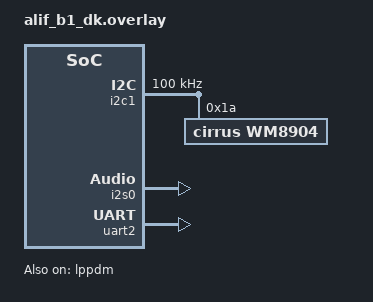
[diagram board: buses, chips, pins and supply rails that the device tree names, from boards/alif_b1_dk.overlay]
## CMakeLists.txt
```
# Copyright (C) Alif Semiconductor - All Rights Reserved.
# Use, distribution and modification of this code is permitted under the
# terms stated in the Alif Semiconductor Software License Agreement
#
# You should have received a copy of the Alif Semiconductor Software
# License Agreement with this file. If not, please write to:
# contact@alifsemi.com, or visit: https://alifsemi.com/license

cmake_minimum_required(VERSION 3.20.0)

# Include BLE Power Management snippet by default
if(NOT pm-ble IN_LIST SNIPPET)
  set(SNIPPET pm-ble ${SNIPPET} CACHE STRING "" FORCE)
endif()

find_package(Zephyr REQUIRED HINTS $ENV{ZEPHYR_BASE})
project(le_audio_auracast)

target_sources(app PRIVATE
    src/main.cpp
    src/bluetooth.c
    src/audio_datapath.c
    src/auracast_shell.c
)
target_sources_ifdef(CONFIG_AURACAST_CONTROL_PROFILE app PRIVATE src/control_profile.c)
target_sources_ifdef(CONFIG_AUDIO_DMIC app PRIVATE src/mic_source.c)

add_subdirectory(auracast_source/)
add_subdirectory(auracast_sink/)
add_subdirectory(auracast_scan_delegator/)

add_subdirectory_ifdef(CONFIG_TENSORFLOW_LITE_MICRO kws)
```

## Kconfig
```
# Copyright(C) Alif Semiconductor - All Rights Reserved.
# Use, distribution and modification of this code is permitted under the
# terms stated in the Alif Semiconductor Software License Agreement
#
# You should have received a copy of the Alif Semiconductor Software
# License Agreement with this file.If not, please write to:
# contact @alifsemi.com, or visit : https: // alifsemi.com/license

menu "Alif Bluetooth LE Audio Broadcast Source"

config AURACAST_STREAM_NAME
	string "LE audio broadcast name"
	default "ALIF_LE_AUDIO"

config AURACAST_ENCRYPTION_PASSWORD
	string "LE audio broadcast password"
	default "passwordpassword"
	help
	  If defined the broadcast stream will be encrypted.
	  Length needs to be between 4 and 16 chars or empty string (default) to disable.

config LE_AUDIO_PRESENTATION_DELAY_MS
	int "Presentation delay in ms"
	default 40
	help
	  LE audio presentation delay in ms. For the audio source use-case, this is defined as the
	  time in ms from the start of recording an audio frame, to the SDU reference anchor point
	  at which the SDU containing the same audio frame is sent over BLE. The absolute minimum
	  possible presentation delay would be the frame length (10 ms) plus the encoding time of
	  the frame, since it is impossible to send the frame before it has been fully recorded and
	  encoded. But some margin should be added on top of this to account for any overhead and
	  timing variations due to other activities of the software occurring while recording and
	  encoding the audio.

config APP_PRINT_STATS
	bool "Print audio SDU counter information"
	depends on LOG
	help
	  Helps to debug audio processing in some simple cases. Just a free running counter of sent
	  audio SDUs is printed at regular intervals.

config APP_PRINT_STATS_INTERVAL
	int "Interval for printing info about send frames, in SDU count"
	default 1024
	depends on APP_PRINT_STATS
	help
	  Interval at which to print presentation delay statistics. The interval is measured in SDU
	  count, e.g. 1024 means to print the statistics every 512 SDUs (per channel). With a 10 ms
	  SDU interval this is around 10 seconds.

config INPUT_VOLUME_LEVEL
	int "Input volume level in percentage when MIC input is active"
	default 33
	range 10 100

config INPUT_VOLUME_STEP
	int "Input volume adjustment step size"
	default 3
	range 1 10

config INPUT_VOLUME_MIN
	int "Minimum input volume level in percentage"
	default 10
	range 10 100

config INPUT_VOLUME_MAX
	int "Maximum input volume level in percentage"
	default 50
	range 10 100

config AURACAST_AUTOSTART_CMD
	string "Auto start command"

config AURACAST_CONTROL_PROFILE
	bool "Auracast BLE control profile"
	default y
	help
	  Expose a custom GATT service that lets a connected client select
	  Auracast mode. Boot and "stop" use ROLE_BLE_CONFIG (connectable
	  mode selection). GATT modes: config (0), source (1), sink (2),
	  scan delegator (3).

config AUDIO_L_CHANNEL
	int "PDM audio left channel"
	default 4
	range 0 7

config AUDIO_R_CHANNEL
	int "PDM audio right channel"
	default 5
	range 0 7

config AUDIO_PDM_PHASE
	int "PDM channel phase delay in units of PDM_Ci cycle counts"
	default 0
	range 0 64

config AUDIO_IIR_COEF
	int "IIR filter coefficient value"
	default 0
	range 0 32

rsource "kws/Kconfig"

menu "Logging"

module = MAIN
module-str = main
source "subsys/logging/Kconfig.template.log_config"

module = AURACAST_SOURCE
module-str = auracast_source
source "subsys/logging/Kconfig.template.log_config"

module = AURACAST_SINK
module-str = auracast_sink
source "subsys/logging/Kconfig.template.log_config"

module = AURACAST_SCAN_DELEGATOR
module-str = auracast_scan_delegator
source "subsys/logging/Kconfig.template.log_config"

module = AUDIO_DATAPATH
module-str = audio_datapath
source "subsys/logging/Kconfig.template.log_config"

module = AURACAST_SHELL
module-str = auracast_shell
source "subsys/logging/Kconfig.template.log_config"

module = CONTROL_PROFILE
module-str = control_profile
source "subsys/logging/Kconfig.template.log_config"

endmenu # "Logging"

endmenu # "Alif Bluetooth LE Audio Broadcast Source"

source "Kconfig.zephyr"
```

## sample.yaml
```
sample:
  name: LE Audio Auracast
tests:
  sample.bt_custom.le_audio.auracast:
    build_only: true
    filter: dt_alias_exists("i2s_bus") and dt_alias_exists("audio_codec")
    tags:
      - bluetooth
      - bt_custom
      - le_audio
```

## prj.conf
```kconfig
# Copyright (C) Alif Semiconductor - All Rights Reserved.
# Use, distribution and modification of this code is permitted under the
# terms stated in the Alif Semiconductor Software License Agreement
#
# You should have received a copy of the Alif Semiconductor Software
# License Agreement with this file. If not, please write to:
# contact@alifsemi.com, or visit: https://alifsemi.com/license

CONFIG_CPP=y
CONFIG_STD_CPP17=y

CONFIG_BT=y
CONFIG_BT_CUSTOM=y
CONFIG_ALIF_ROM_LC3_CODEC=y
CONFIG_ALIF_BLE_AUDIO=y

CONFIG_LOG=y
CONFIG_NVS_LOG_LEVEL_WRN=y
# CONFIG_LOG_MODE_IMMEDIATE=y
# CONFIG_LOG_MODE_MINIMAL=y

CONFIG_PRESENTATION_COMPENSATION_DIRECTION_SOURCE=y

CONFIG_AUDIO=y
CONFIG_AUDIO_DMIC=y
CONFIG_AUDIO_CODEC=y
CONFIG_AUDIO_CODEC_SHELL=y
CONFIG_SHELL=y

# This is specific to whichever clock you use. Currently presentation layer is
# commented out so this does nothing
CONFIG_AUDIO_CLOCK_DIVIDER=1

# Should be replaced by TRNG when support is available
CONFIG_TEST_RANDOM_GENERATOR=y

# malloc support is required, simplest way is using newlib although it would also be possible to
# configure heap for picolibc
CONFIG_NEWLIB_LIBC=y

# Driver support for audio
CONFIG_I2S=y
CONFIG_I2S_SYNC_BUFFER_FORMAT_SEQUENTIAL=n
CONFIG_DMA=y

# Audio driver support specific to B1 DK board.
# Audio codec is WM8904, connected via I2C.
CONFIG_I2C=y
CONFIG_WM8904=y

CONFIG_I2C_INIT_PRIORITY=50
CONFIG_WM8904_INIT_PRIORITY=99

# Enable NVS as the backend for Settings
CONFIG_NVS=y
# Enable the Settings subsystem
CONFIG_SETTINGS=y
CONFIG_SETTINGS_NVS=y
CONFIG_SETTINGS_RUNTIME=y
CONFIG_MPU_ALLOW_FLASH_WRITE=y
CONFIG_FLASH=y
CONFIG_FLASH_MAP=y

# For MRAM(XIP) builds with LLVM exception tables cause linker errors as part of the code is placed to TCM
CONFIG_CPP_EXCEPTIONS=n
```

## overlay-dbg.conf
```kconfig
# Copyright (C) Alif Semiconductor - All Rights Reserved.
# Use, distribution and modification of this code is permitted under the
# terms stated in the Alif Semiconductor Software License Agreement
#
# You should have received a copy of the Alif Semiconductor Software
# License Agreement with this file. If not, please write to:
# contact@alifsemi.com, or visit: https://alifsemi.com/license

CONFIG_NO_OPTIMIZATIONS=y

# Debug
CONFIG_LOG=y
#CONFIG_USE_SEGGER_RTT=y
#CONFIG_RTT_CONSOLE=y

#CONFIG_APP_PRINT_STATS=y

#CONFIG_MAIN_LOG_LEVEL_DBG=y
#CONFIG_BROADCAST_SOURCE_LOG_LEVEL_DBG=y
#CONFIG_BLE_AUDIO_LOG_LEVEL_DBG=y
#CONFIG_PRESENTATION_COMPENSATION_PRINT_STATS=y


## Debugging configuration
CONFIG_THREAD_NAME=y
CONFIG_THREAD_ANALYZER=y
CONFIG_THREAD_ANALYZER_AUTO=y
CONFIG_THREAD_ANALYZER_RUN_UNLOCKED=y
CONFIG_THREAD_ANALYZER_USE_PRINTK=y
CONFIG_THREAD_ANALYZER_AUTO_STACK_SIZE=6044

## Add asserts
CONFIG_ASSERT=y
#CONFIG_ASSERT_VERBOSE=y
#CONFIG_ASSERT_NO_COND_INFO=n
#CONFIG_ASSERT_NO_MSG_INFO=n

CONFIG_STACK_SENTINEL=y

#CONFIG_LOG_MODE_IMMEDIATE=y
CONFIG_LOG_MODE_MINIMAL=y
#CONFIG_LC3_ENCODER_STACK_SIZE=6044
```

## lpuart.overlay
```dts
/* Copyright (C) Alif Semiconductor - All Rights Reserved.
 * Use, distribution and modification of this code is permitted under the
 * terms stated in the Alif Semiconductor Software License Agreement
 *
 * You should have received a copy of the Alif Semiconductor Software
 * License Agreement with this file. If not, please write to:
 * contact@alifsemi.com, or visit: https://alifsemi.com/license
 */

&uart2 {
	status = "disabled";
};

&lpuart {
	current-speed = <115200>;
	dlf = <13>;
	/*/delete-property/ dlf;*/
	status = "okay";
	/delete-property/ pinctrl-1; // = <&pinctrl_lpuart_sleep>;
	pinctrl-names = "default";
};

/ {
	chosen {
		zephyr,console = &lpuart;
		zephyr,shell-uart = &lpuart;
		zephyr,uart-mcumgr = &lpuart;
	};
};
```

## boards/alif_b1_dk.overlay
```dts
/* Copyright (C) Alif Semiconductor - All Rights Reserved.
 * Use, distribution and modification of this code is permitted under the
 * terms stated in the Alif Semiconductor Software License Agreement
 *
 * You should have received a copy of the Alif Semiconductor Software
 * License Agreement with this file. If not, please write to:
 * contact@alifsemi.com, or visit: https://alifsemi.com/license
 *
 */

#include <dt-bindings/pinctrl/balletto-pinctrl.h>
#include <dt-bindings/i2c/i2c.h>
#include <dt-bindings/gpio/gpio.h>

#define I2S0_IRQ_NUM  141
#define I2S0_IRQ_PRIO 3

/ {
	aliases {
		audio-codec = &wm8904;
		i2s-bus = &i2s0;
		pdm-mic = &lppdm;
	};
};

&lppdm {
	status = "okay";
};

&dma2 {
	status = "okay";
	dma-channels = <8>;
	interrupts = <0 3>, <1 3>, <2 3>, <3 3>, <4 3>, <5 3>,
		     <6 3>, <7 3>, <32 3>;
	interrupt-names = "channel0", "channel1",
			  "channel2", "channel3",
			  "channel4", "channel5",
			  "channel6", "channel7",
			  "abort";
};

&i2c1 {
	clock-frequency = <I2C_BITRATE_STANDARD>;
	status = "okay";

	wm8904: wm8904@1a {
		compatible = "cirrus,wm8904";
		reg = <0x1a>;
		status = "okay";
	};
};

&i2s0 {
	/delete-property/ clock-frequency;
	/delete-property/ driver-instance;
	compatible = "alif,i2s-sync";
	interrupts = <I2S0_IRQ_NUM I2S0_IRQ_PRIO>;
	bit-depth = <16>;
	sample-rate = <48000>;
	status = "okay";
};

&pinctrl_i2c1 {
	group0 {
		pinmux = <PIN_P7_2__I2C1_SDA_C>,
			 <PIN_P7_3__I2C1_SCL_C>;
	};
};

&pinctrl_i2s0 {
	group0 {
		pinmux = <PIN_P2_4__I2S0_SDI_B>,
			 <PIN_P2_5__I2S0_SDO_B>,
			 <PIN_P1_7__I2S0_WS_A>,
			 <PIN_P1_6__I2S0_SCLK_A>;
	};
};

/* Joystick middle button */
&pinctrl_gpio5 {
	group1 {
		pinmux = <PIN_P5_7__GPIO>;
		driver-state-control = <1>;
		read-enable = < 0x1 >;
	};
};

&uart2 {
	status = "okay";
	/delete-property/ pinctrl-1;
	pinctrl-names = "default";
};

/* Disable unnecessary nodes */
&i2s1 {
	status = "disabled";
};

&uart_ahi {
	status = "disabled";
};

&ieee802154 {
	status = "disabled";
};
&rng {
	status = "disabled";
};

&pinctrl_lppdm {
	group0 {
		pinmux = < PIN_P7_4__LPPDM_C2_C >;
		read-enable = < 0x0 >;
	};
	group1 {
		pinmux = < PIN_P7_5__LPPDM_D2_C >;
		read-enable = < 0x1 >;
	};
};
```

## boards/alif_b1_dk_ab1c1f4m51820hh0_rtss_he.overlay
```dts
/* Copyright (C) Alif Semiconductor - All Rights Reserved.
 * Use, distribution and modification of this code is permitted under the
 * terms stated in the Alif Semiconductor Software License Agreement
 *
 * You should have received a copy of the Alif Semiconductor Software
 * License Agreement with this file. If not, please write to:
 * contact@alifsemi.com, or visit: https://alifsemi.com/license
 *
 */

#include "alif_b1_dk.overlay"
```

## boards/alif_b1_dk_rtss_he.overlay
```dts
/* Copyright (C) Alif Semiconductor - All Rights Reserved.
 * Use, distribution and modification of this code is permitted under the
 * terms stated in the Alif Semiconductor Software License Agreement
 *
 * You should have received a copy of the Alif Semiconductor Software
 * License Agreement with this file. If not, please write to:
 * contact@alifsemi.com, or visit: https: //alifsemi.com/license
 *
 */

#include <dt-bindings/pinctrl/balletto-pinctrl.h>
#include <dt-bindings/i2c/i2c.h>
#include <dt-bindings/gpio/gpio.h>

#define I2S0_IRQ_NUM  141
#define I2S0_IRQ_PRIO 3

/ {
	aliases {
		audio-codec = &wm8904;
		i2s-bus = &i2s0;
		/*i2s-mic = &i2s2;*/
	};
};

&dma2 {
	status = "okay";
	dma-channels = <8>;
	interrupts = <0 3>, <1 3>, <2 3>, <3 3>, <4 3>, <5 3>,
		     <6 3>, <7 3>, <32 3>;
	interrupt-names = "channel0", "channel1",
			  "channel2", "channel3",
			  "channel4", "channel5",
			  "channel6", "channel7",
			  "abort";
};

&i2c1 {
	clock-frequency = <I2C_BITRATE_STANDARD>;
	status = "okay";

	wm8904: wm8904@1a {
		compatible = "cirrus,wm8904";
		reg = <0x1a>;
		status = "okay";
	};
};

&i2s0 {
	/delete-property/ clock-frequency;
	/delete-property/ driver-instance;
	compatible = "alif,i2s-sync";
	interrupts = <I2S0_IRQ_NUM I2S0_IRQ_PRIO>;
	bit-depth = <16>;
	sample-rate = <48000>;
	status = "okay";
};

&pinctrl_i2c1 {
	group0 {
		pinmux = <PIN_P7_2__I2C1_SDA_C>,
			 <PIN_P7_3__I2C1_SCL_C>;
	};
};

&pinctrl_i2s0 {
	group0 {
		pinmux = <PIN_P2_4__I2S0_SDI_B>,
			 <PIN_P2_5__I2S0_SDO_B>,
			 <PIN_P1_7__I2S0_WS_A>,
			 <PIN_P1_6__I2S0_SCLK_A>;
	};
};

/* Jouystick middle button */
&pinctrl_gpio5 {
	group1 {
		pinmux = <PIN_P5_7__GPIO>;
		driver-state-control = <1>;
		read-enable = < 0x1 >;
	};
};

/* Disable unnecessary nodes */
&i2s1 {
	status = "disabled";
};

&uart_ahi {
	status = "disabled";
};
```

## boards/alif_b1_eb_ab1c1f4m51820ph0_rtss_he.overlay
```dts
/* Copyright (C) Alif Semiconductor - All Rights Reserved.
 * Use, distribution and modification of this code is permitted under the
 * terms stated in the Alif Semiconductor Software License Agreement
 *
 * You should have received a copy of the Alif Semiconductor Software
 * License Agreement with this file. If not, please write to:
 * contact@alifsemi.com, or visit: https://alifsemi.com/license
 *
 */


#define I2S0_IRQ_NUM  141
#define I2S0_IRQ_PRIO 3

/ {
	aliases {
		audio-codec = &wm8904;
		i2s-bus = &i2s0;
		/*i2s-mic = &i2s2;*/
	};
};
```

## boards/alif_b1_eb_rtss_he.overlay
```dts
/* Copyright (C) Alif Semiconductor - All Rights Reserved.
 * Use, distribution and modification of this code is permitted under the
 * terms stated in the Alif Semiconductor Software License Agreement
 *
 * You should have received a copy of the Alif Semiconductor Software
 * License Agreement with this file. If not, please write to:
 * contact@alifsemi.com, or visit: https://alifsemi.com/license
 *
 */

#include "alif_b1_dk_rtss_he.overlay"

&pinctrl_i2c0 {
	group0 {
		pinmux = <PIN_P7_0__I2C0_SDA_C>,
			 <PIN_P7_1__I2C0_SCL_C>;
	};
};

&pinctrl_i2s0 {
	group0 {
		pinmux = <PIN_P8_0__I2S0_SDI_C>,
			 <PIN_P8_1__I2S0_SDO_C>,
			 <PIN_P8_3__I2S0_WS_C>,
			 <PIN_P8_2__I2S0_SCLK_C>;
	};
};
```

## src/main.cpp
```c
/* Copyright (C) Alif Semiconductor - All Rights Reserved.
 * Use, distribution and modification of this code is permitted under the
 * terms stated in the Alif Semiconductor Software License Agreement
 *
 * You should have received a copy of the Alif Semiconductor Software
 * License Agreement with this file. If not, please write to:
 * contact@alifsemi.com, or visit: https://alifsemi.com/license
 */

#include <zephyr/kernel.h>
#include <zephyr/logging/log.h>
#include "bluetooth.h"
#include "KwsMain.h"

LOG_MODULE_REGISTER(main, CONFIG_MAIN_LOG_LEVEL);

int main(void)
{
	configure_bluetooth();
	kws_initialize();

	return 0;
}
```

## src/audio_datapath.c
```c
/* Copyright (C) Alif Semiconductor - All Rights Reserved.
 * Use, distribution and modification of this code is permitted under the
 * terms stated in the Alif Semiconductor Software License Agreement
 *
 * You should have received a copy of the Alif Semiconductor Software
 * License Agreement with this file. If not, please write to:
 * contact@alifsemi.com, or visit: https://alifsemi.com/license
 */

#include <zephyr/types.h>
#include <zephyr/device.h>
#include <zephyr/logging/log.h>
#include <zephyr/audio/codec.h>

#include "bluetooth/le_audio/audio_decoder.h"
#include "bluetooth/le_audio/audio_encoder.h"

#include "audio_datapath.h"
#include "mic_source.h"

#if CONFIG_ALIF_BLE_AUDIO_USE_RAMFUNC
#define INT_RAMFUNC __ramfunc
#else
#define INT_RAMFUNC
#endif

#define CODEC_I2S_DEV DEVICE_DT_GET(CODEC_I2S_NODE)

BUILD_ASSERT(!DT_PROP(CODEC_I2S_NODE, mono_mode), "I2S must be configured in stereo mode");

LOG_MODULE_REGISTER(audio_datapath, CONFIG_BLE_AUDIO_LOG_LEVEL);

struct audio_datapath {
	struct audio_encoder *encoder;
	struct audio_decoder *decoder;
};

static struct audio_datapath env;

/* Initialisation to perform pre-main */
static int unicast_audio_path_init(void)
{
	int ret;

	/* Check all devices are ready */
	ret = device_is_ready(DEVICE_DT_GET(CODEC_CFG_NODE));
	if (!ret) {
		LOG_ERR("Audio codec is not ready");
		return -1;
	}

	ret = device_is_ready(CODEC_I2S_DEV);
	if (!ret) {
		LOG_ERR("I2S is not ready");
		return -1;
	}

	/* Stop codec output if started during init */
	audio_codec_stop_output(DEVICE_DT_GET(CODEC_CFG_NODE));

	return 0;
}
SYS_INIT(unicast_audio_path_init, APPLICATION, 0);

#if ENCODER_DEBUG
INT_RAMFUNC static void on_encoder_frame_complete(void *param, uint32_t timestamp, uint16_t sdu_seq)
{
	if ((sdu_seq % 128) == 0) {
		LOG_INF("SDU sequence number: %u", sdu_seq);
	}
}
#endif

#if DECODER_DEBUG
INT_RAMFUNC static void print_sdus(void *context, uint32_t timestamp, uint16_t sdu_seq)
{
	static uint16_t last_sdu;

	if (last_sdu && (last_sdu + 1 < sdu_seq)) {
		LOG_INF("SDU sequence number jumps, last: %u, now: %u", last_sdu, sdu_seq);
	}
	last_sdu = sdu_seq;

	if (0 == (sdu_seq % 128)) {
		LOG_INF("SDU sequence number %u", sdu_seq);
	}
}
#endif

static int configure_codec(const uint32_t sampling_rate_hz)
{
	int ret;
	/* clang-format off */
	struct audio_codec_cfg codec_cfg = {
		.dai_type = AUDIO_DAI_TYPE_I2S,
		.dai_cfg = {
			.i2s = {
				.word_size = AUDIO_PCM_WIDTH_16_BITS,
				.channels = 2,
				.format = I2S_FMT_DATA_FORMAT_I2S,
				.options = 0,
				.frame_clk_freq = sampling_rate_hz,
				.mem_slab = NULL,
				.block_size = 0,
				.timeout = 0,
			},
		},
	};
	/* clang-format on */

	/* Configure codec */
	ret = audio_codec_configure(DEVICE_DT_GET(CODEC_CFG_NODE), &codec_cfg);
	if (ret) {
		LOG_ERR("Failed to configure source codec. err %d", ret);
		return ret;
	}
	audio_codec_start_output(DEVICE_DT_GET(CODEC_CFG_NODE));

	return 0;
}

int audio_datapath_create_source(struct audio_datapath_config const *const cfg)
{
	if (cfg == NULL) {
		return -EINVAL;
	}

	if (env.encoder) {
		/* TODO reconfigure encoder? */

		return -EALREADY;
	}

	struct audio_encoder_params const enc_params = {
		.i2s_dev = CODEC_I2S_DEV,
		.frame_duration_us = cfg->frame_duration_is_10ms ? 10000 : 7500,
		.sampling_rate_hz = cfg->sampling_rate_hz,
		.audio_buffer_len_us = cfg->pres_delay_us,
	};

	audio_encoder_delete(env.encoder);

	/* Configure codec */
	configure_codec(cfg->sampling_rate_hz);

	/* Remove old one and create a new */
	env.encoder = audio_encoder_create(&enc_params);
	if (env.encoder == NULL) {
		LOG_ERR("Failed to create audio encoder");
		return -ENOMEM;
	}

#if ENCODER_DEBUG
	ret = audio_encoder_register_cb(env.encoder, on_encoder_frame_complete, NULL);
	if (ret) {
		LOG_ERR("Failed to register encoder cb for stats, err %d", ret);
		return ret;
	}
#endif

	if (cfg->mic_dev) {
		int ret = mic_configure(cfg->mic_dev, CODEC_I2S_DEV, env.encoder);

		if (ret != 0) {
			LOG_ERR("Failed to configure mic input, err %d", ret);
			return ret;
		}
	}

	LOG_DBG("Source audio datapath created");

	return 0;
}

int audio_datapath_channel_create_source(size_t const octets_per_frame, uint8_t const stream_lid)
{
	int ret = audio_encoder_add_channel(env.encoder, octets_per_frame, stream_lid);

	if (ret) {
		LOG_ERR("Stream %u creation failed. Err %d", stream_lid, ret);
		return ret;
	}
	return 0;
}

int audio_datapath_channel_start_source(uint8_t const stream_lid)
{
	int ret = audio_encoder_start_channel(env.encoder, stream_lid);

	if (ret) {
		LOG_ERR("Stream %u start failed. Err %d", stream_lid, ret);
		return ret;
	}
	return 0;
}

int audio_datapath_channel_stop_source(uint8_t const stream_lid)
{
	int ret = audio_encoder_stop_channel(env.encoder, stream_lid);

	if (ret) {
		LOG_ERR("Stream %u stop failed. Err %d", stream_lid, ret);
		return ret;
	}
	return 0;
}

int audio_datapath_cleanup_source(void)
{
	/* Stop encoder first as it references other modules */
	audio_encoder_delete(env.encoder);
	env.encoder = NULL;

	LOG_DBG("Source audio datapath removed");

	return 0;
}

int audio_datapath_create_sink(struct audio_datapath_config const *const cfg)
{
	if (!cfg) {
		return -EINVAL;
	}

	if (env.decoder) {
		return -EALREADY;
	}

	struct audio_decoder_params const dec_params = {
		.i2s_dev = CODEC_I2S_DEV,
		.frame_duration_us = cfg->frame_duration_is_10ms ? 10000 : 7500,
		.sampling_rate_hz = cfg->sampling_rate_hz,
		.pres_delay_us = cfg->pres_delay_us,
	};

	audio_decoder_delete(env.decoder);

	/* Configure codec */
	configure_codec(cfg->sampling_rate_hz);

	env.decoder = audio_decoder_create(&dec_params);

	if (!env.decoder) {
		LOG_ERR("Failed to create audio decoder");
		return -ENOMEM;
	}

#if DECODER_DEBUG
	ret = audio_decoder_register_cb(env.decoder, print_sdus, NULL);
	if (ret != 0) {
		LOG_ERR("Failed to register decoder cb, err %d", ret);
		return ret;
	}
#endif

	LOG_DBG("Sink audio datapath created");

	return 0;
}

int audio_datapath_channel_create_sink(size_t const octets_per_frame, uint8_t const stream_lid)
{
	int ret = audio_decoder_add_channel(env.decoder, octets_per_frame, stream_lid);

	if (ret) {
		LOG_ERR("Failed to create stream %u, err %d", stream_lid, ret);
		return ret;
	}

	return 0;
}

int audio_datapath_channel_start_sink(uint8_t const stream_lid)
{
	int ret = audio_decoder_start_channel(env.decoder, stream_lid);

	if (ret) {
		LOG_ERR("Failed to start stream %u, err %d", stream_lid, ret);
		return ret;
	}

	return 0;
}

int audio_datapath_channel_stop_sink(uint8_t const stream_lid)
{
	int ret = audio_decoder_stop_channel(env.decoder, stream_lid);

	if (ret) {
		LOG_ERR("Failed to stop stream %u, err %d", stream_lid, ret);
		return ret;
	}

	return 0;
}

int audio_datapath_channel_volume_sink(uint8_t const volume, bool const mute)
{
	int ret;
	audio_property_value_t property_value;
	const struct device *dev = DEVICE_DT_GET(CODEC_CFG_NODE);

	property_value.vol = volume;
	ret = audio_codec_set_property(dev, AUDIO_PROPERTY_OUTPUT_VOLUME, AUDIO_CHANNEL_ALL,
				       property_value);
	if (ret) {
		LOG_ERR("Failed to set volume, err %d", ret);
		return ret;
	}

	property_value.mute = mute;
	ret = audio_codec_set_property(dev, AUDIO_PROPERTY_OUTPUT_MUTE, AUDIO_CHANNEL_ALL,
				       property_value);
	if (ret) {
		LOG_ERR("Failed to set mute, err %d", ret);
		return ret;
	}

	return 0;
}

int audio_datapath_cleanup_sink(void)
{
	audio_decoder_delete(env.decoder);
	env.decoder = NULL;

	LOG_DBG("Sink audio datapath removed");

	return 0;
}
```

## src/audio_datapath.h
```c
/* Copyright (C) Alif Semiconductor - All Rights Reserved.
 * Use, distribution and modification of this code is permitted under the
 * terms stated in the Alif Semiconductor Software License Agreement
 *
 * You should have received a copy of the Alif Semiconductor Software
 * License Agreement with this file. If not, please write to:
 * contact@alifsemi.com, or visit: https://alifsemi.com/license
 */

#ifndef _AUDIO_DATAPATH_H
#define _AUDIO_DATAPATH_H

#include <zephyr/types.h>

#define CODEC_CFG_NODE DT_ALIAS(audio_codec)
#define CODEC_I2S_NODE DT_ALIAS(i2s_bus)
/* #define MCLK_GEN_NODE DT_ALIAS(mclk_gen) */

struct audio_datapath_config {
	const struct device *mic_dev;
	uint32_t pres_delay_us;
	uint32_t sampling_rate_hz;
	bool frame_duration_is_10ms;
};

/**
 * @brief Create the audio source datapath
 *
 * This creates and configures all of the required elements to stream audio from Bluetooth LE to I2S
 *
 * @param cfg Desired configuration of the audio datapath
 *
 * @retval 0 if successful
 * @retval Negative error code on failure
 */
int audio_datapath_create_source(struct audio_datapath_config const *cfg);

/**
 * @brief Create the audio source datapath channel
 *
 * @param[in] octets_per_frame Number of data per frame
 * @param[in] stream_lid Stream local ID of the channel to be created
 *
 * @retval 0 if successful
 * @retval Negative error code on failure
 */
int audio_datapath_channel_create_source(size_t octets_per_frame, uint8_t stream_lid);

/**
 * @brief Start the audio source datapath
 *
 * Starts transmission of the first SDU over the ISO datapath,
 * which when transmitted starts off the operation of the rest of
 * the datapath.
 *
 * @param[in] stream_lid Stream local ID
 *
 * @retval 0 if successful
 * @retval Negative error code on failure
 */
int audio_datapath_channel_start_source(uint8_t stream_lid);

/**
 * @brief Stop the audio source datapath
 *
 * Stops transmission of the SDUs over the ISO datapath.
 *
 * @param[in] stream_lid Stream local ID
 *
 * @retval 0 if successful
 * @retval Negative error code on failure
 */
int audio_datapath_channel_stop_source(uint8_t stream_lid);

/**
 * @brief Clean up the audio source datapath
 *
 * This stops the audio source datapath and cleans up all elements created by
 * audio_datapath_create_source, freeing any allocated memory if necessary. After calling this
 * function, it is possible to create a new audio source datapath again using
 * audio_datapath_create_source.
 *
 * @retval 0 if successful
 * @retval Negative error code on failure
 */
int audio_datapath_cleanup_source(void);

/**
 * @brief Create the audio sink datapath
 *
 * This creates and configures all of the required elements to stream audio from I2S to Bluetooth LE
 *
 * @param cfg Desired configuration of the audio datapath
 *
 * @retval 0 if successful
 * @retval Negative error code on failure
 */
int audio_datapath_create_sink(struct audio_datapath_config const *cfg);

/**
 * @brief Create the audio sink datapath channel
 *
 * @param[in] octets_per_frame Number of data per frame
 * @param[in] stream_lid Stream local ID of the channel to be created
 *
 * @retval 0 if successful
 * @retval Negative error code on failure
 */
int audio_datapath_channel_create_sink(size_t octets_per_frame, uint8_t stream_lid);

/**
 * @brief Start the audio sink datapath channel
 *
 * Starts transmission of the first SDU over the ISO datapath,
 * which when transmitted starts off the operation of the rest of
 * the datapath.
 *
 * @param[in] stream_lid Stream local ID
 *
 * @retval 0 if successful
 * @retval Negative error code on failure
 */
int audio_datapath_channel_start_sink(uint8_t stream_lid);

/**
 * @brief Stop the audio sink datapath channel
 *
 * Stops transmission of the SDUs over the ISO datapath.
 *
 * @param[in] stream_lid Stream local ID
 *
 * @retval 0 if successful
 * @retval Negative error code on failure
 */
int audio_datapath_channel_stop_sink(uint8_t stream_lid);

/**
 * @brief Set the volume of an audio sink channel
 *
 * @param volume New volume value
 * @param mute New mute state (true or false)
 *
 * @retval 0 if successful
 * @retval Negative error code on failure
 */
int audio_datapath_channel_volume_sink(uint8_t volume, bool mute);

/**
 * @brief Clean up the audio sink datapath
 *
 * This stops the audio sink datapath and cleans up all elements created by
 * audio_datapath_create_sink, freeing any allocated memory if necessary. After calling this
 * function, it is possible to create a new audio sink datapath again using
 * audio_datapath_create_sink.
 *
 * @retval 0 if successful
 * @retval Negative error code on failure
 */
int audio_datapath_cleanup_sink(void);

/**
 * @brief Controls the microphone input
 *
 * @param start True to start the microphone input, false to stop it
 */
void audio_datapath_mic_control(bool start);

#endif /* _AUDIO_DATAPATH_H */
```

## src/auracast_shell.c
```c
/* Copyright (C) Alif Semiconductor - All Rights Reserved.
 * Use, distribution and modification of this code is permitted under the
 * terms stated in the Alif Semiconductor Software License Agreement
 *
 * You should have received a copy of the Alif Semiconductor Software
 * License Agreement with this file. If not, please write to:
 * contact@alifsemi.com, or visit: https://alifsemi.com/license
 */

#include <zephyr/shell/shell.h>
#include <stdio.h>
#include "gapm.h"
#include "bluetooth.h"
#include "auracast_source.h"
#include "auracast_sink.h"
#include "auracast_sd.h"

LOG_MODULE_REGISTER(auracast_shell, LOG_LEVEL_ERR);

static const char *param_get_str(size_t const argc, char **argv, char *p_param,
				 const char *p_def_value)
{
	if (p_param && argc > 1) {
		for (int n = 0; n < (argc - 1); n++) {
			if (strcmp(argv[n], p_param) == 0) {
				return argv[n + 1];
			}
		}
	}
	return p_def_value;
}

static int32_t param_get_int(size_t const argc, char **argv, char *p_param, int const def_value)
{
	const char *p_value = param_get_str(argc, argv, p_param, NULL);

	if (p_value) {
		return strtol(p_value, NULL, 0);
	}

	return def_value;
}

static int cmd_info(const struct shell *shell, size_t argc, char **argv)
{
	const enum role my_role = get_current_role();
	const char *info = get_device_name();
	gap_bdaddr_t identity;
	char addr_str[18];

	gapm_get_identity(&identity);

	snprintf(addr_str, sizeof(addr_str), "%02X:%02X:%02X:%02X:%02X:%02X", identity.addr[5],
		 identity.addr[4], identity.addr[3], identity.addr[2], identity.addr[1],
		 identity.addr[0]);

	shell_fprintf(shell, SHELL_VT100_COLOR_YELLOW, "Current config:\n");
	shell_fprintf(shell, SHELL_VT100_COLOR_GREEN, "  Device Name: ");
	shell_fprintf(shell, SHELL_VT100_COLOR_DEFAULT, "%s\n", info);
	shell_fprintf(shell, SHELL_VT100_COLOR_GREEN, "  Device Addr: ");
	shell_fprintf(shell, SHELL_VT100_COLOR_DEFAULT, "%s\n", addr_str);

	if (my_role >= ROLE_MAX) {
		shell_fprintf(shell, SHELL_VT100_COLOR_GREEN, "Device role is invalid\n");
		return 0;
	}

	const char *role_strs[ROLE_MAX] = {
		"None",
		"BLE Config",
		"Auracast Source",
		"Auracast Sink",
		"Auracast Scan Delegator",
	};

	shell_fprintf(shell, SHELL_VT100_COLOR_GREEN, "  Role: ");
	shell_fprintf(shell, SHELL_VT100_COLOR_DEFAULT, "%s\n", role_strs[my_role]);

	info = get_stream_name();
	shell_fprintf(shell, SHELL_VT100_COLOR_GREEN, "  Stream name: ");
	shell_fprintf(shell, SHELL_VT100_COLOR_DEFAULT, "%s\n", info ? info : "<not set>");

	info = get_auracast_encryption_passwd();
	shell_fprintf(shell, SHELL_VT100_COLOR_GREEN, "  Stream encryption password: ");
	shell_fprintf(shell, SHELL_VT100_COLOR_DEFAULT, "%s\n", info ? info : "<not set>");

	return 0;
}

static int cmd_set_device_name(const struct shell *shell, size_t const argc, char **argv)
{
	if (argc < 2) {
		LOG_ERR("argument 'name' is missing");
		return -EINVAL;
	}

	const char *device_name = argv[1];

	return set_device_name(device_name);
}

static int cmd_start_source(const struct shell *shell, size_t const argc, char **argv)
{
	if (argc < 2) {
		LOG_ERR("argument 'name' is missing");
		return -EINVAL;
	}

	struct startup_params command = {
		.cmd = COMMAND_SOURCE,
	};

	const char *stream_name = argv[1];
	const char *passwd = param_get_str(argc, argv, "--passwd", NULL);
	const char *codec = param_get_str(argc, argv, "--codec", NULL);

	if (codec) {
		LOG_DBG("Using '%s' codec configuration", codec);

		if (auracast_codec_config_from_name(codec, &command.source.octets_per_frame,
						    &command.source.frame_rate_hz,
						    &command.source.frame_duration_us) != 0) {
			LOG_ERR("Invalid codec name '%s'", codec);
			return -EINVAL;
		}

	} else {
		const char *p_duration = param_get_str(argc, argv, "--ms", NULL);

		command.source.octets_per_frame = param_get_int(
			argc, argv, "--sdu", CONFIG_ALIF_BLE_AUDIO_OCTETS_PER_CODEC_FRAME);
		command.source.frame_rate_hz =
			param_get_int(argc, argv, "--rate", CONFIG_ALIF_BLE_AUDIO_FS_HZ);

		if (!p_duration) {
			/* If frame duration is not provided, use default based on config */
			command.source.frame_duration_us =
				IS_ENABLED(CONFIG_ALIF_BLE_AUDIO_FRAME_DURATION_10MS) ? 10000
										      : 7500;
		} else if (strncmp(p_duration, "10", 2) == 0) {
			command.source.frame_duration_us = 10000;
		} else if (strncmp(p_duration, "7.5", 2) == 0) {
			command.source.frame_duration_us = 7500;
		} else {
			LOG_ERR("Invalid frame duration '%s', use '10' or '7.5'", p_duration);
			return -EINVAL;
		}
	}

#if CONFIG_TENSORFLOW_LITE_MICRO
	if (command.source.frame_rate_hz != 16000) {
		LOG_ERR("KWS model is requiring 16kHz input");
		return -EINVAL;
	}
#endif

	set_device_name(stream_name);
	set_stream_name(stream_name);
	set_auracast_encryption_passwd(passwd);

	return execute_shell_command(command);
}

static int cmd_start_sink(const struct shell *shell, size_t const argc, char **argv)
{
	const char *stream_name = (argc >= 2) ? argv[1] : NULL;
	const char *passwd = (argc >= 3) ? argv[2] : NULL;

	set_stream_name(stream_name);
	set_auracast_encryption_passwd(passwd);

	return execute_shell_command((struct startup_params){
		.cmd = COMMAND_SINK,
	});
}

static int cmd_select(const struct shell *shell, size_t const argc, char **argv)
{
	if (argc < 2) {
		LOG_ERR("argument 'index' is missing");
		return -EINVAL;
	}

	const int index = strtol(argv[1], NULL, 0);
	const char *passwd = (argc >= 3) ? argv[2] : NULL;

	set_auracast_encryption_passwd(passwd);

	return execute_shell_command((struct startup_params){
		.cmd = COMMAND_SINK_SELECT_STREAM,
		.sink.stream_index = index,
	});
}

static int cmd_start_scan_delegator(const struct shell *shell, size_t const argc, char **argv)
{
	const char *device_name = (argc > 1) ? argv[1] : DEVICE_NAME_PREFIX_DEFAULT " SD";

	if (set_device_name(device_name) < 0) {
		LOG_ERR("Failed to set device name");
		return -EINVAL;
	}

	return execute_shell_command((struct startup_params){
		.cmd = COMMAND_SCAN_DELEGATOR,
	});
}

static int cmd_stop(const struct shell *shell, size_t const argc, char **argv)
{
	return execute_shell_command((struct startup_params){
		.cmd = COMMAND_STOP,
	});
}

SHELL_STATIC_SUBCMD_SET_CREATE(
	sub_cfg, SHELL_CMD_ARG(info, NULL, "Print device info", cmd_info, 1, 10),
	SHELL_CMD_ARG(name, NULL, "Set device name <name>", cmd_set_device_name, 1, 10),
	SHELL_CMD_ARG(
		source, NULL,
		"Start Auracast transmitter <stream name> [--passwd <password>] "
		"[--codec <name>] [--sdu <octets_per_frame_in_bytes>] [--rate <frame_rate_hz>] "
		"[--ms <frame_duration_in_ms>]",
		cmd_start_source, 1, 10),
	SHELL_CMD_ARG(sink, NULL, "Start Auracast receiver [<stream name> [password]]",
		      cmd_start_sink, 1, 10),
	SHELL_CMD_ARG(delegator, NULL, "Start Auracast scan delegator [device name]",
		      cmd_start_scan_delegator, 1, 10),
	SHELL_CMD_ARG(select, NULL, "Select Auracast stream <index> [password]", cmd_select, 1, 10),
	SHELL_CMD_ARG(stop, NULL, "Stop Auracast", cmd_stop, 1, 10),
	SHELL_SUBCMD_SET_END /* Array terminated. */
);

SHELL_CMD_REGISTER(auracast, &sub_cfg, "Auracast config", NULL);
```

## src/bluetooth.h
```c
/* Copyright (C) Alif Semiconductor - All Rights Reserved.
 * Use, distribution and modification of this code is permitted under the
 * terms stated in the Alif Semiconductor Software License Agreement
 *
 * You should have received a copy of the Alif Semiconductor Software
 * License Agreement with this file. If not, please write to:
 * contact@alifsemi.com, or visit: https://alifsemi.com/license
 */

#ifndef BLUETOOTH_H
#define BLUETOOTH_H

#if __cplusplus
extern "C" {
#endif

#include <zephyr/types.h>
#include <gaf/gaf.h>

#define DEVICE_NAME_PREFIX_DEFAULT "ALIF Auracast"

/* Appearance */
#define APPEARANCE_EARBUDS 0x0941
#define APPEARANCE_HEADSET 0x0942

/* TODO: Change appearance to Headset when bidir communication is implemented */
#define APPEARANCE APPEARANCE_EARBUDS

enum role {
	ROLE_NONE,
	ROLE_BLE_CONFIG, /* Connectable GATT control profile (mode selection) */
	ROLE_AURACAST_SOURCE,
	ROLE_AURACAST_SINK,
	ROLE_AURACAST_SCAN_DELEGATOR,
	ROLE_MAX,
};

enum command {
	COMMAND_STOP,
	COMMAND_SOURCE,
	COMMAND_SINK,
	COMMAND_SINK_SELECT_STREAM,
	COMMAND_SCAN_DELEGATOR,
	COMMAND_MAX,
};

struct startup_params {
	enum command cmd;
	union {
		struct {
			uint32_t octets_per_frame;
			uint32_t frame_rate_hz;
			uint32_t frame_duration_us;
		} source;
		struct {
			int stream_index;
		} sink;
	};
};

/**
 * @brief Set device name
 *
 * @param name Device name string
 * @retval 0 on success
 * @retval Negative error code on failure
 */
int set_device_name(const char *name);

/**
 * @brief Get the current device name
 *
 * @retval Device name string
 */
const char *get_device_name(void);

/**
 * @brief Set stream name
 *
 * @param name Stream name string
 * @retval 0 on success
 * @retval Negative error code on failure
 */
int set_stream_name(const char *name);

/**
 * @brief Get the current stream name
 *
 * @retval Stream name string
 */
const char *get_stream_name(void);

/**
 * @brief Set Auracast encryption password
 *
 * @param passwd Password string
 * @retval 0 on success
 * @retval Negative error code on failure
 */
int set_auracast_encryption_passwd(const char *passwd);

/**
 * @brief Get Auracast encryption password
 *
 * @retval Password string
 */
const char *get_auracast_encryption_passwd(void);

/**
 * @brief Fill the Auracast encryption key
 *
 * @param key_buffer Buffer to fill with the encryption key
 * @retval password length on success
 * @retval Negative error code on failure
 */
int fill_auracast_encryption_key(gaf_bcast_code_t *p_code);

/**
 * @brief Configure a role
 *
 * @param role Desired role to configure
 * @retval 0 on success
 * @retval -1 on failure
 */
int configure_role(enum role role);

/**
 * @brief Get the current configured role
 *
 * @retval Current role
 */
enum role get_current_role(void);

/**
 * @brief Resolve an LC3 codec preset name to its audio parameters
 *
 * Recognised names follow the "<rate_khz>_<n>" convention (e.g. "16_2",
 * "48_4"). 44.1 kHz presets are only available when CODEC_44khz_SUPPORT_ENABLED
 * is defined.
 *
 * @param codec             Codec preset name
 * @param octets_per_frame  Output: octets per codec frame
 * @param frame_rate_hz     Output: sampling rate in Hz
 * @param frame_duration_us Output: frame duration in microseconds
 *
 * @retval 0 on success
 * @retval -EINVAL if the codec name is NULL, empty or unknown
 */
int auracast_codec_config_from_name(const char *codec, uint32_t *octets_per_frame,
				    uint32_t *frame_rate_hz, uint32_t *frame_duration_us);

/**
 * @brief Execute a shell command in the BLE worker thread
 *
 * @param cmd Command to execute \ref struct startup_params
 *
 * @retval 0 on success
 * @retval Negative error code on failure
 */
int execute_shell_command(struct startup_params cmd);

/**
 * @brief Configure Bluetooth
 *
 * @retval 0 on success
 * @retval Negative error code on failure
 */
int configure_bluetooth(void);

#ifdef __cplusplus
}
#endif

#endif /* BLUETOOTH_H */
```

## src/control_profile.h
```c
/* Copyright (C) Alif Semiconductor - All Rights Reserved.
 * Use, distribution and modification of this code is permitted under the
 * terms stated in the Alif Semiconductor Software License Agreement
 *
 * You should have received a copy of the Alif Semiconductor Software
 * License Agreement with this file. If not, please write to:
 * contact@alifsemi.com, or visit: https://alifsemi.com/license
 */

#ifndef CONTROL_PROFILE_H_
#define CONTROL_PROFILE_H_

#if defined(CONFIG_AURACAST_CONTROL_PROFILE)

/**
 * @brief Register the Auracast control GATT service and start connectable advertising
 *
 * Must be called after gapm_configure() succeeds. Safe to call again after a
 * GAPM reset/reconfigure (re-registers the service and advertising activity).
 *
 * @retval 0 on success
 * @retval Negative error code on failure
 */
int control_profile_start(void);

/**
 * @brief Stop connectable advertising used by the control profile
 *
 * @retval 0 on success
 * @retval Negative error code on failure
 */
int control_profile_stop_adv(void);

/**
 * @brief Restart connectable advertising (e.g. after disconnection)
 *
 * @retval 0 on success
 * @retval Negative error code on failure
 */
int control_profile_restart_adv(void);

/**
 * @brief Notify connected clients of the current mode
 *
 * @retval 0 on success
 * @retval Negative error code on failure
 */
int control_profile_notify_mode(void);

#else /* !CONFIG_AURACAST_CONTROL_PROFILE */

static inline int control_profile_start(void)
{
	return 0;
}

static inline int control_profile_stop_adv(void)
{
	return 0;
}

static inline int control_profile_restart_adv(void)
{
	return 0;
}

static inline int control_profile_notify_mode(void)
{
	return 0;
}

#endif /* CONFIG_AURACAST_CONTROL_PROFILE */

#endif /* CONTROL_PROFILE_H_ */
```

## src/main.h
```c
/* Copyright (C) Alif Semiconductor - All Rights Reserved.
 * Use, distribution and modification of this code is permitted under the
 * terms stated in the Alif Semiconductor Software License Agreement
 *
 * You should have received a copy of the Alif Semiconductor Software
 * License Agreement with this file. If not, please write to:
 * contact@alifsemi.com, or visit: https://alifsemi.com/license
 */

#ifndef MAIN_H
#define MAIN_H

#include <zephyr/types.h>
#include <gaf/gaf.h>

#define DEVICE_NAME_PREFIX_DEFAULT "ALIF Auracast"

/* Appearance */
#define APPEARANCE_EARBUDS 0x0941
#define APPEARANCE_HEADSET 0x0942

/* TODO: Change appearance to Headset when bidir communication is implemented */
#define APPEARANCE APPEARANCE_EARBUDS

enum role {
	ROLE_NONE,
	ROLE_BLE_CONFIG, /* Connectable GATT control profile (mode selection) */
	ROLE_AURACAST_SOURCE,
	ROLE_AURACAST_SINK,
	ROLE_AURACAST_SCAN_DELEGATOR,
	ROLE_MAX,
};

enum command {
	COMMAND_STOP,
	COMMAND_SOURCE,
	COMMAND_SINK,
	COMMAND_SINK_SELECT_STREAM,
	COMMAND_SCAN_DELEGATOR,
	COMMAND_MAX,
};

struct startup_params {
	enum command cmd;
	union {
		struct {
			uint32_t octets_per_frame;
			uint32_t frame_rate_hz;
			uint32_t frame_duration_us;
		} source;
		struct {
			int stream_index;
		} sink;
	};
};

/**
 * @brief Set device name
 *
 * @param name Device name string
 * @retval 0 on success
 * @retval Negative error code on failure
 */
int set_device_name(const char *name);

/**
 * @brief Get the current device name
 *
 * @retval Device name string
 */
const char *get_device_name(void);

/**
 * @brief Set stream name
 *
 * @param name Stream name string
 * @retval 0 on success
 * @retval Negative error code on failure
 */
int set_stream_name(const char *name);

/**
 * @brief Get the current stream name
 *
 * @retval Stream name string
 */
const char *get_stream_name(void);

/**
 * @brief Set Auracast encryption password
 *
 * @param passwd Password string
 * @retval 0 on success
 * @retval Negative error code on failure
 */
int set_auracast_encryption_passwd(const char *passwd);

/**
 * @brief Get Auracast encryption password
 *
 * @retval Password string
 */
const char *get_auracast_encryption_passwd(void);

/**
 * @brief Fill the Auracast encryption key
 *
 * @param key_buffer Buffer to fill with the encryption key
 * @retval password length on success
 * @retval Negative error code on failure
 */
int fill_auracast_encryption_key(gaf_bcast_code_t *p_code);

/**
 * @brief Configure a role
 *
 * @param role Desired role to configure
 * @retval 0 on success
 * @retval -1 on failure
 */
int configure_role(enum role role);

/**
 * @brief Get the current configured role
 *
 * @retval Current role
 */
enum role get_current_role(void);

/**
 * @brief Resolve an LC3 codec preset name to its audio parameters
 *
 * Recognised names follow the "<rate_khz>_<n>" convention (e.g. "16_2",
 * "48_4"). 44.1 kHz presets are only available when CODEC_44khz_SUPPORT_ENABLED
 * is defined.
 *
 * @param codec             Codec preset name
 * @param octets_per_frame  Output: octets per codec frame
 * @param frame_rate_hz     Output: sampling rate in Hz
 * @param frame_duration_us Output: frame duration in microseconds
 *
 * @retval 0 on success
 * @retval -EINVAL if the codec name is NULL, empty or unknown
 */
int auracast_codec_config_from_name(const char *codec, uint32_t *octets_per_frame,
				    uint32_t *frame_rate_hz, uint32_t *frame_duration_us);

/**
 * @brief Execute a shell command in the BLE worker thread
 *
 * @param cmd Command to execute \ref struct startup_params
 *
 * @retval 0 on success
 * @retval Negative error code on failure
 */
int execute_shell_command(struct startup_params cmd);

#endif /* MAIN_H */
```

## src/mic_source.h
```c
/* Copyright (C) Alif Semiconductor - All Rights Reserved.
 * Use, distribution and modification of this code is permitted under the
 * terms stated in the Alif Semiconductor Software License Agreement
 *
 * You should have received a copy of the Alif Semiconductor Software
 * License Agreement with this file. If not, please write to:
 * contact@alifsemi.com, or visit: https://alifsemi.com/license
 */

#ifndef MIC_SOURCE_H
#define MIC_SOURCE_H

#include "bluetooth.h"
#if __cplusplus
extern "C" {
#endif

#include "bluetooth/le_audio/audio_encoder.h"
#include <zephyr/toolchain.h>

typedef int (*mic_data_callback_t)(const void *data, size_t size, void *user_data);

#if CONFIG_AUDIO_DMIC

/**
 * @brief Configure microphone source
 *
 * @param mic_dev Device to use for microphone input
 * @param i2s_dev I2S device to use for audio input from audio jack
 * @param audio_encoder Audio encoder that data will handle audio frames
 *
 * @retval 0 if successful
 * @retval Negative error code on failure
 */
int mic_configure(const struct device *mic_dev, const struct device *i2s_dev,
		  struct audio_encoder *audio_encoder);

/**
 * @brief Register a callback to receive microphone data
 *
 * @param callback Function to call with microphone data
 * @param user_data User data to pass to the callback
 *
 * @retval 0 if successful
 * @retval Negative error code on failure
 */
int mic_register_callback(mic_data_callback_t callback, void *user_data);

/**
 * @brief Adjust the microphone gain
 *
 * @param increase true to increase gain, false to decrease
 *
 * @retval 0 if successful
 * @retval Negative error code on failure
 */
int mic_adjust_gain(bool increase);

/**
 * @brief Start the microphone source stream
 */
void mic_start(void);

/**
 * @brief Stop the microphone source stream
 */
void mic_stop(void);

/**
 * @brief Control microphone source
 *
 * @param start true to start, false to stop
 */
void mic_control(bool start);

#else
static inline int mic_configure(const struct device *mic_dev, const struct device *i2s_dev,
				struct audio_encoder *audio_encoder)
{
	return 0;
}

static inline int mic_register_callback(mic_data_callback_t callback, void *user_data)
{
	return 0;
}

static inline int mic_adjust_gain(bool increase)
{
	return 0;
}

static inline void mic_start(void)
{
}

static inline void mic_stop(void)
{
}

static inline void mic_control(bool const start)
{
	ARG_UNUSED(start);
}
#endif

#if __cplusplus
}
#endif

#endif /* MIC_SOURCE_H */
```
